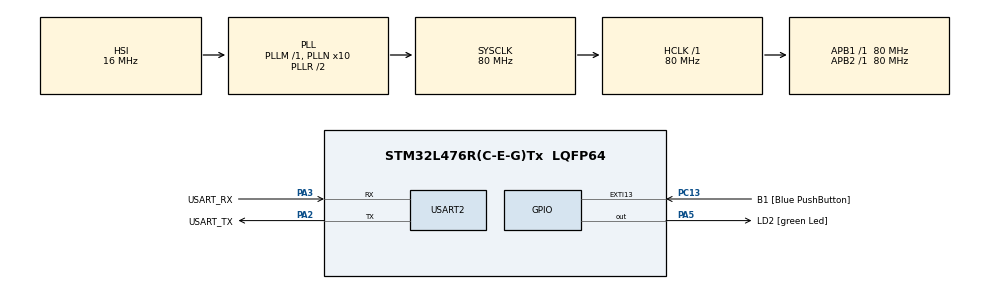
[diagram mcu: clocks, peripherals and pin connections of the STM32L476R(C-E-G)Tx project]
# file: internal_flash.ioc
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Mcu.Family=STM32L4
Mcu.Name=STM32L476R(C-E-G)Tx
Mcu.Package=LQFP64
NVIC.PriorityGroup=NVIC_PRIORITYGROUP_4
PA13\ (JTMS-SWDIO).GPIO_Label=TMS
PA13\ (JTMS-SWDIO).Mode=Serial_Wire
PA13\ (JTMS-SWDIO).Signal=SYS_JTMS-SWDIO
PA14\ (JTCK-SWCLK).GPIO_Label=TCK
PA14\ (JTCK-SWCLK).Mode=Serial_Wire
PA14\ (JTCK-SWCLK).Signal=SYS_JTCK-SWCLK
PA2.GPIO_Label=USART_TX
PA2.GPIO_Mode=GPIO_MODE_AF_PP
PA2.GPIO_PuPd=GPIO_NOPULL
PA2.GPIO_Speed=GPIO_SPEED_FREQ_VERY_HIGH
PA2.Mode=Asynchronous
PA2.Signal=USART2_TX
PA3.GPIO_Label=USART_RX
PA3.GPIO_Mode=GPIO_MODE_AF_PP
PA3.GPIO_PuPd=GPIO_NOPULL
PA3.GPIO_Speed=GPIO_SPEED_FREQ_VERY_HIGH
PA3.Mode=Asynchronous
PA3.Signal=USART2_RX
PA5.GPIO_Label=LD2 [green Led]
PA5.GPIO_ModeDefaultOutputPP=GPIO_MODE_OUTPUT_PP
PA5.GPIO_PuPd=GPIO_NOPULL
PA5.GPIO_Speed=GPIO_SPEED_FREQ_LOW
PA5.Signal=GPIO_Output
PB3\ (JTDO-TRACESWO).GPIO_Label=SWO
PB3\ (JTDO-TRACESWO).Signal=SYS_JTDO-SWO
PC13.GPIO_Label=B1 [Blue PushButton]
PC13.GPIO_ModeDefaultEXTI=GPIO_MODE_IT_FALLING
PC13.GPIO_PuPd=GPIO_NOPULL
PC13.Signal=GPXTI13
PC14-OSC32_IN\ (PC14).Mode=LSE-External-Oscillator
PC14-OSC32_IN\ (PC14).Signal=RCC_OSC32_IN
PC15-OSC32_OUT\ (PC15).Mode=LSE-External-Oscillator
PC15-OSC32_OUT\ (PC15).Signal=RCC_OSC32_OUT
PH0-OSC_IN\ (PH0).Signal=RCC_OSC_IN
PH1-OSC_OUT\ (PH1).Signal=RCC_OSC_OUT
ProjectManager.HeapSize=0x200
ProjectManager.StackSize=0x400
ProjectManager.TargetToolchain=STM32CubeIDE
RCC.ADCFreq_Value=64000000
RCC.AHBFreq_Value=80000000
RCC.APB1Freq_Value=80000000
RCC.APB1TimFreq_Value=80000000
RCC.APB2Freq_Value=80000000
RCC.APB2TimFreq_Value=80000000
RCC.CortexFreq_Value=80000000
RCC.HCLKFreq_Value=80000000
RCC.HSE_VALUE=8000000
RCC.HSI_VALUE=16000000
RCC.MSI_VALUE=4000000
RCC.PLLN=10
RCC.PLLSourceVirtual=RCC_PLLSOURCE_HSI
RCC.PREFETCH_ENABLE=1
RCC.SYSCLKFreq_VALUE=80000000
RCC.SYSCLKSource=RCC_SYSCLKSOURCE_PLLCLK
RCC.USBFreq_Value=64000000
RCC.VCOOutputFreq_Value=160000000
USART2.VirtualMode-Asynchronous=VM_ASYNC
board=NUCLEO-L476RG

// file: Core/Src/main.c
/* USER CODE BEGIN Header */
/**
  ******************************************************************************
  * @file           : main.c
  * @brief          : Main program body
  ******************************************************************************
  * @attention
  *
  * Copyright (c) 2025 STMicroelectronics.
  * All rights reserved.
  *
  * This software is licensed under terms that can be found in the LICENSE file
  * in the root directory of this software component.
  * If no LICENSE file comes with this software, it is provided AS-IS.
  *
  ******************************************************************************
  */
/* USER CODE END Header */
#include "main.h"

/* USER CODE BEGIN Includes */
#include<stdarg.h>
#include<stdio.h>
#include<inttypes.h>
/* USER CODE END Includes */

UART_HandleTypeDef huart2;

/* USER CODE BEGIN PV */
#define FLASH_USER_START_ADDR   0x08080000
uint32_t count;
/* USER CODE END PV */

void SystemClock_Config(void);
static void MX_GPIO_Init(void);
static void MX_USART2_UART_Init(void);

/* USER CODE BEGIN 0 */
void DumpAllFlash(void)
{
    uint32_t addr = FLASH_USER_START_ADDR;
    char buffer[64];

    HAL_UART_Transmit(&huart2, (uint8_t*)"\r\n--- FLASH LOG ---\r\n", 21, 100);

    while (1)
    {
        Flash_ReadString(addr, buffer, sizeof(buffer));

        if (buffer[0] == '\0') break; // no more strings

        HAL_UART_Transmit(&huart2, (uint8_t*)buffer, strlen(buffer), 100);
        HAL_UART_Transmit(&huart2, (uint8_t*)"\r\n", 2, 100);

        addr += 256; // move to next 8-byte aligned slot
    }

    HAL_UART_Transmit(&huart2, (uint8_t*)"--- END LOG ---\r\n", 18, 100);
}
void debug_printf(const char *fmt, ...)
{
	char buffer[256];
	va_list args;
	va_start(args, fmt);
	vsnprintf(buffer, sizeof(buffer), fmt, args);
	va_end(args);
	uint16_t i = 0;
	while(buffer[i] != '\0')
	{
		ITM_SendChar(buffer[i]);
		i++;
	}
}
void EraseFlash(void )
{
	FLASH_EraseInitTypeDef FlashEraseDefination;
	uint32_t FlashEraseFault = 0;
	HAL_FLASH_Unlock();

	FlashEraseDefination.TypeErase = FLASH_TYPEERASE_PAGES;
	FlashEraseDefination.Banks     = FLASH_BANK_2;
	FlashEraseDefination.Page      = 0;
	FlashEraseDefination.NbPages   = 1;

	HAL_FLASHEx_Erase(&FlashEraseDefination, &FlashEraseFault);

	HAL_FLASH_Lock();
}

void WriteData(uint64_t Data)
{
    HAL_StatusTypeDef status;
    HAL_FLASH_Unlock();
    status = HAL_FLASH_Program(FLASH_TYPEPROGRAM_DOUBLEWORD,FLASH_USER_START_ADDR,Data);
    if(status != HAL_OK)
    {

    }
    HAL_FLASH_Lock();
}

uint64_t  RetriveData(uint32_t address)
{
	return *(uint64_t*)address;
}
void Flash_WriteString(uint32_t StartAddr, const char *str)
{
    HAL_FLASH_Unlock();

    uint64_t data64;
    uint32_t i = 0;
    while (str[i] != '\0') {
        // Pack 8 characters into one 64-bit word
        data64 = 0xFFFFFFFFFFFFFFFF; // fill with 0xFF (erased default)
        for (int b = 0; b < 8 && str[i] != '\0'; b++, i++) {
            ((uint8_t*)&data64)[b] = str[i];
        }

        HAL_FLASH_Program(FLASH_TYPEPROGRAM_DOUBLEWORD, StartAddr, data64);
        StartAddr += 8;  // move to next 64-bit slot
    }

    HAL_FLASH_Lock();
}

void Flash_ReadString(uint32_t StartAddr, char *outBuf, uint32_t maxLen)
{
    uint32_t i = 0;
    while (i < maxLen - 1) {
        uint64_t data64 = *(uint64_t*)StartAddr;
        for (int b = 0; b < 8 && i < maxLen - 1; b++) {
            char c = ((uint8_t*)&data64)[b];
            if (c == '\0' || c == (char)0xFF) {
                outBuf[i] = '\0';
                return;
            }
            outBuf[i++] = c;
        }
        StartAddr += 8;
    }
    outBuf[i] = '\0';
}

/* USER CODE END 0 */

int main(void)
{

  /* USER CODE BEGIN 1 */
	uint64_t write_val = 0x1122334455667788ULL;  // test value
	uint64_t read_val  = 0;
  /* USER CODE END 1 */

  /* MCU Configuration--------------------------------------------------------*/

  /* Reset of all peripherals, Initializes the Flash interface and the Systick. */
  HAL_Init();

  /* Configure the system clock */
  SystemClock_Config();

  /* Initialize all configured peripherals */
  MX_GPIO_Init();
  MX_USART2_UART_Init();
  /* USER CODE BEGIN 2 */

//  EraseFlash();
//
//  WriteData(write_val);
//
//  read_val = RetriveData(FLASH_USER_START_ADDR);
//
//  uint32_t low  = (uint32_t)(read_val & 0xFFFFFFFF);
//  uint32_t high = (uint32_t)(read_val >> 32);
//  count+=8;
//
//  debug_printf("data read from flash 0x%08lx%08lx\r\n", high, low);
//
//  char buffer[50];
//
//  //EraseFlash();
//
//  Flash_WriteString(FLASH_USER_START_ADDR+count, "Hello STM32!");
//
//  Flash_ReadString(FLASH_USER_START_ADDR+count, buffer, sizeof(buffer));
//
//  debug_printf("String read from flash: %s\r\n", buffer);
//
  DumpAllFlash();
  /* Infinite loop */
  while (1)
  {

  }
}

void SystemClock_Config(void)
{
  RCC_OscInitTypeDef RCC_OscInitStruct = {0};
  RCC_ClkInitTypeDef RCC_ClkInitStruct = {0};

  /** Configure the main internal regulator output voltage
  */
  if (HAL_PWREx_ControlVoltageScaling(PWR_REGULATOR_VOLTAGE_SCALE1) != HAL_OK)
  {
    Error_Handler();
  }

  /** Initializes the RCC Oscillators according to the specified parameters
  * in the RCC_OscInitTypeDef structure.
  */
  RCC_OscInitStruct.OscillatorType = RCC_OSCILLATORTYPE_HSI;
  RCC_OscInitStruct.HSIState = RCC_HSI_ON;
  RCC_OscInitStruct.HSICalibrationValue = RCC_HSICALIBRATION_DEFAULT;
  RCC_OscInitStruct.PLL.PLLState = RCC_PLL_ON;
  RCC_OscInitStruct.PLL.PLLSource = RCC_PLLSOURCE_HSI;
  RCC_OscInitStruct.PLL.PLLM = 1;
  RCC_OscInitStruct.PLL.PLLN = 10;
  RCC_OscInitStruct.PLL.PLLP = RCC_PLLP_DIV7;
  RCC_OscInitStruct.PLL.PLLQ = RCC_PLLQ_DIV2;
  RCC_OscInitStruct.PLL.PLLR = RCC_PLLR_DIV2;
  if (HAL_RCC_OscConfig(&RCC_OscInitStruct) != HAL_OK)
  {
    Error_Handler();
  }

  /** Initializes the CPU, AHB and APB buses clocks
  */
  RCC_ClkInitStruct.ClockType = RCC_CLOCKTYPE_HCLK|RCC_CLOCKTYPE_SYSCLK
                              |RCC_CLOCKTYPE_PCLK1|RCC_CLOCKTYPE_PCLK2;
  RCC_ClkInitStruct.SYSCLKSource = RCC_SYSCLKSOURCE_PLLCLK;
  RCC_ClkInitStruct.AHBCLKDivider = RCC_SYSCLK_DIV1;
  RCC_ClkInitStruct.APB1CLKDivider = RCC_HCLK_DIV1;
  RCC_ClkInitStruct.APB2CLKDivider = RCC_HCLK_DIV1;

  if (HAL_RCC_ClockConfig(&RCC_ClkInitStruct, FLASH_LATENCY_4) != HAL_OK)
  {
    Error_Handler();
  }
}

static void MX_USART2_UART_Init(void)
{

  huart2.Instance = USART2;
  huart2.Init.BaudRate = 115200;
  huart2.Init.WordLength = UART_WORDLENGTH_8B;
  huart2.Init.StopBits = UART_STOPBITS_1;
  huart2.Init.Parity = UART_PARITY_NONE;
  huart2.Init.Mode = UART_MODE_TX_RX;
  huart2.Init.HwFlowCtl = UART_HWCONTROL_NONE;
  huart2.Init.OverSampling = UART_OVERSAMPLING_16;
  huart2.Init.OneBitSampling = UART_ONE_BIT_SAMPLE_DISABLE;
  huart2.AdvancedInit.AdvFeatureInit = UART_ADVFEATURE_NO_INIT;
  if (HAL_UART_Init(&huart2) != HAL_OK)
  {
    Error_Handler();
  }

}

static void MX_GPIO_Init(void)
{
  GPIO_InitTypeDef GPIO_InitStruct = {0};

  /* GPIO Ports Clock Enable */
  __HAL_RCC_GPIOC_CLK_ENABLE();
  __HAL_RCC_GPIOH_CLK_ENABLE();
  __HAL_RCC_GPIOA_CLK_ENABLE();
  __HAL_RCC_GPIOB_CLK_ENABLE();

  /*Configure GPIO pin Output Level */
  HAL_GPIO_WritePin(LD2_GPIO_Port, LD2_Pin, GPIO_PIN_RESET);

  /*Configure GPIO pin : B1_Pin */
  GPIO_InitStruct.Pin = B1_Pin;
  GPIO_InitStruct.Mode = GPIO_MODE_IT_FALLING;
  GPIO_InitStruct.Pull = GPIO_NOPULL;
  HAL_GPIO_Init(B1_GPIO_Port, &GPIO_InitStruct);

  /*Configure GPIO pin : LD2_Pin */
  GPIO_InitStruct.Pin = LD2_Pin;
  GPIO_InitStruct.Mode = GPIO_MODE_OUTPUT_PP;
  GPIO_InitStruct.Pull = GPIO_NOPULL;
  GPIO_InitStruct.Speed = GPIO_SPEED_FREQ_LOW;
  HAL_GPIO_Init(LD2_GPIO_Port, &GPIO_InitStruct);

}

void Error_Handler(void)
{
  __disable_irq();
  while (1)
  {
  }
}
